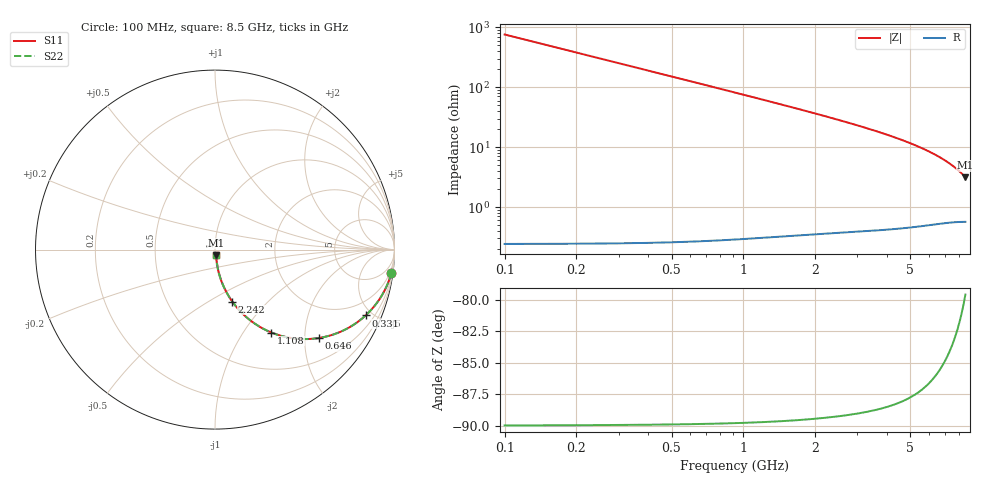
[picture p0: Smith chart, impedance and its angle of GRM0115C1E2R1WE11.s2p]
!Murata Part Number: GRM0115C1E2R1WE11
!These Parameters are Measured in Series Mode Connection
!Data Generated on Mar 30, 2021
!  o--ll--o
!Port1  Port2
!  o------o
!Operation Temp=25[degC], DC Bias Voltage=0[V]
!Freq. Start=100[MHz] Stop=9[GHz] 401[Steps]
# Hz S RI R 50
!Freq.(Hz) S11(Real) S11(Imag) S21(Real) S21(Imag) S12(Real) S12(Imag) S22(Real) S22(Imag)
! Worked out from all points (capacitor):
!   401 points, 100 MHz to 8.5 GHz, reference 50 ohm
!   read as one part in series: C = 2.1 pF near 142 MHz
!   lowest |Z| = 3.13 ohm at 8.5 GHz (marker M1)
!   S11 on the Smith chart (normalised r, x): 100 MHz: 1, -15; 331 MHz: 1.00, -4.57; 646 MHz: 1.01, -2.34; 1.108 GHz: 1.01, -1.35; 2.242 GHz: 1.01, -0.64; 8.5 GHz: 1.01, -0.06
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1e8  0.9828 -0.1297  0.0172 0.1297  0.0172 0.1297  0.9828 -0.1297
1.21e8  0.9751 -0.1557  0.0249 0.1557  0.0249 0.1557  0.9751 -0.1557
1.84e8  0.9442 -0.2293  0.0558 0.2293  0.0558 0.2293  0.9442 -0.2293
2.26e8  0.9181 -0.2739  0.0819 0.2739  0.0819 0.2739  0.9181 -0.2739
2.68e8  0.8885 -0.3143  0.1115 0.3143  0.1115 0.3143  0.8885 -0.3143
3.31e8  0.8392 -0.3668  0.1608 0.3668  0.1608 0.3668  0.8392 -0.3668
3.94e8  0.7864 -0.4092  0.2136 0.4092  0.2136 0.4092  0.7864 -0.4092
4.78e8  0.7141 -0.451  0.2859 0.451  0.2859 0.451  0.7141 -0.451
6.46e8  0.5769 -0.4929  0.4231 0.4929  0.4231 0.4929  0.5769 -0.4929
8.77e8  0.4239 -0.4925  0.5761 0.4925  0.5761 0.4925  0.4239 -0.4925
1.108e9  0.3141 -0.4619  0.6859 0.4619  0.6859 0.4619  0.3141 -0.4619
1.297e9  0.2493 -0.4299  0.7507 0.4299  0.7507 0.4299  0.2493 -0.4299
1.507e9  0.1962 -0.3938  0.8038 0.3938  0.8038 0.3938  0.1962 -0.3938
1.843e9  0.1386 -0.3412  0.8614 0.3412  0.8614 0.3412  0.1386 -0.3412
2.242e9  0.0964 -0.2895  0.9036 0.2895  0.9036 0.2895  0.0964 -0.2895
2.914e9  0.0573 -0.2244  0.9427 0.2244  0.9427 0.2244  0.0573 -0.2244
3.544e9  0.0379 -0.1805  0.9621 0.1805  0.9621 0.1805  0.0379 -0.1805
4.3e9  0.0248 -0.1414  0.9752 0.1414  0.9752 0.1414  0.0248 -0.1414
5.707e9  0.0132 -0.0909  0.9868 0.0909  0.9868 0.0909  0.0132 -0.0909
7.114e9  0.0086 -0.0562  0.9914 0.0562  0.9914 0.0562  0.0086 -0.0562
7.828e9  0.00739 -0.0422  0.9926 0.0422  0.9926 0.0422  0.00739 -0.0422
8.5e9  0.00658 -0.0305  0.9934 0.0305  0.9934 0.0305  0.00658 -0.0305
